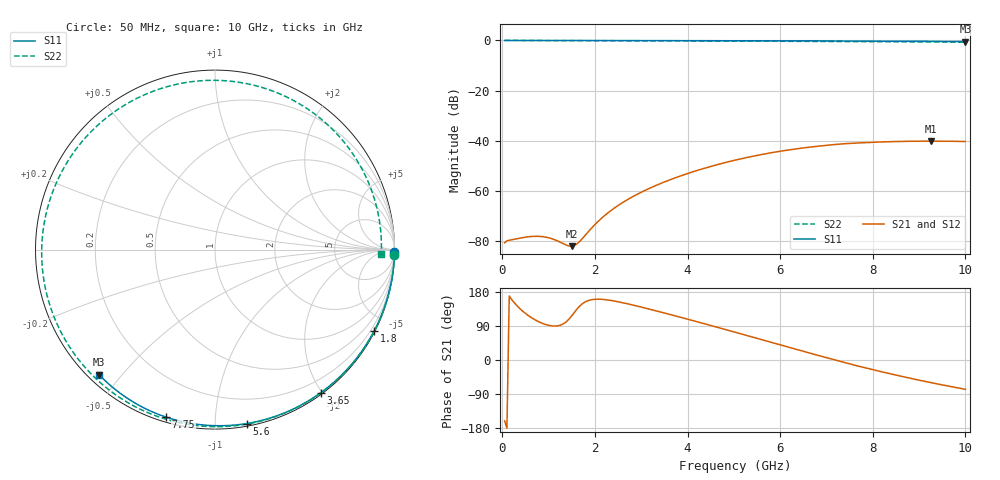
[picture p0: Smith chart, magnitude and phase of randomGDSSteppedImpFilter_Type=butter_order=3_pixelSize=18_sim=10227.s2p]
! freq	dB(S11)	phase(S11)	dB(S12)	phase(S12)
!  dB(S21)	phase(S21)	dB(S22)	phase(S22)
!S-par simulation data
#  GHz  S  DB  R 50
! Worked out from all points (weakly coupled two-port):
!   200 points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, 50 MHz to 10 GHz, reference 50 ohm
!   highest |S21| = -40.08 dB at 9.25 GHz (marker M1); lowest = -81.9 dB at 1.5 GHz (marker M2)
!   lowest |S11| = -0.4 dB at 10 GHz (marker M3), VSWR 39.04, Z = 1.52 - j21.8 ohm
!   |S11| at or under -10 dB: nowhere
!   |S22| runs from -0.7 to 0.0 dB; largest |S21 - S12| = 0
!   S11 on the Smith chart (normalised r, x): 50 MHz: open; 1.8 GHz: 0.04, -4.16; 3.65 GHz: 0.02, -1.98; 5.6 GHz: 0.02, -1.20; 7.75 GHz: 0.02, -0.75; 10 GHz: 0.03, -0.44
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0.05  -0.00 -0.8  -80.53 -160.5  -80.53 -160.5  -0.00 -1.6
0.75  -0.01 -11.4  -77.95 103.1  -77.95 103.1  -0.02 -23.7
1.5  -0.03 -22.6  -81.89 116.7  -81.89 116.7  -0.06 -47.0
1.65  -0.03 -24.8  -80.37 139.6  -80.37 139.6  -0.07 -51.6
1.75  -0.03 -26.3  -78.42 150.3  -78.42 150.3  -0.07 -54.7
1.8  -0.03 -27.1  -77.35 153.9  -77.35 153.9  -0.07 -56.2
2.1  -0.04 -31.5  -71.49 160.4  -71.49 160.4  -0.08 -65.4
2.45  -0.05 -36.6  -66.33 154.9  -66.33 154.9  -0.10 -76.0
3.4  -0.07 -50.1  -57.08 127.2  -57.08 127.2  -0.14 -104.6
3.65  -0.07 -53.6  -55.26 119.2  -55.26 119.2  -0.15 -112.1
4.35  -0.09 -63.2  -50.95 96.2  -50.95 96.2  -0.19 -133.6
5.05  -0.11 -72.5  -47.55 72.5  -47.55 72.5  -0.24 -155.8
5.6  -0.13 -79.7  -45.40 53.6  -45.40 53.6  -0.29 -174.3
6.15  -0.15 -86.7  -43.68 34.7  -43.68 34.7  -0.34 166.0
6.7  -0.18 -93.5  -42.34 16.1  -42.34 16.1  -0.40 144.9
7.25  -0.21 -100.2  -41.31 -2.0  -41.31 -2.0  -0.45 122.0
7.75  -0.24 -106.2  -40.75 -18.0  -40.75 -18.0  -0.49 99.9
8.35  -0.29 -113.3  -40.30 -35.6  -40.30 -35.6  -0.53 72.2
8.75  -0.32 -118.0  -40.15 -46.6  -40.15 -46.6  -0.56 53.5
9.25  -0.37 -123.9  -40.08 -59.6  -40.08 -59.6  -0.59 30.6
9.6  -0.40 -128.0  -40.12 -68.1  -40.12 -68.1  -0.62 15.1
10  -0.45 -132.8  -40.22 -77.3  -40.22 -77.3  -0.66 -1.6
